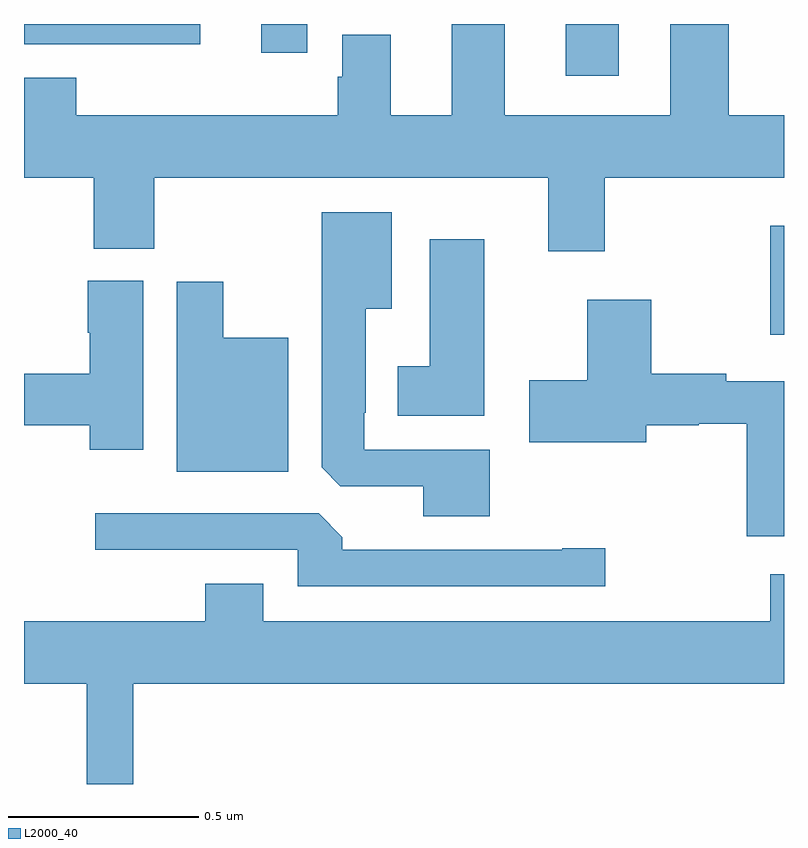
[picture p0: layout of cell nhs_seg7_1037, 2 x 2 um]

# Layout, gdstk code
import gdstk
lib = gdstk.Library(unit=1e-6, precision=1e-09)
def R(c, l, rs):  # rectangles x0, y0, x1, y1
    for r in rs: c.add(gdstk.rectangle(r[:2], r[2:], *l))
def P(c, l, *ps):  # polygons
    for p in ps: c.add(gdstk.Polygon(p, *l))
L2000_40 = (2000, 40)

nhs_seg7_1037 = lib.new_cell('nhs_seg7_1037')
R(nhs_seg7_1037, L2000_40, [(126.964,1020.182,127,1020.469), (126.425,1020.864,126.565,1021), (125.624,1020.924,125.746,1021), (125,1020.947,125.464,1021)])
P(nhs_seg7_1037, L2000_40, [(126.528,1020.596),(127,1020.596),(127,1020.76),(126.854,1020.76),(126.854,1021),(126.701,1021),(126.701,1020.76),(126.265,1020.76),(126.265,1021),(126.125,1021),(126.125,1020.76),(125.965,1020.76),(125.965,1020.972),(125.837,1020.972),(125.837,1020.861),(125.825,1020.861),(125.825,1020.76),(125.138,1020.76),(125.138,1020.859),(125,1020.859),(125,1020.596),(125.183,1020.596),(125.183,1020.409),(125.343,1020.409),(125.343,1020.596),(126.38,1020.596),(126.38,1020.402),(126.528,1020.402)],
  [(126.226,1019.88),(125.895,1019.88),(125.895,1019.977),(125.899,1019.977),(125.899,1020.251),(125.968,1020.251),(125.968,1020.505),(125.783,1020.505),(125.783,1019.833),(125.832,1019.784),(126.05,1019.784),(126.05,1019.705),(126.226,1019.705)],
  [(126.211,1020.433),(126.068,1020.433),(126.068,1020.1),(125.984,1020.1),(125.984,1019.969),(126.211,1019.969)],
  [(125.314,1020.324),(125.168,1020.324),(125.168,1020.188),(125.173,1020.188),(125.173,1020.08),(125,1020.08),(125,1019.944),(125.173,1019.944),(125.173,1019.88),(125.314,1019.88)],
  [(125.695,1020.175),(125.524,1020.175),(125.524,1020.322),(125.402,1020.322),(125.402,1019.822),(125.695,1019.822)],
  [(127,1020.06),(126.848,1020.06),(126.848,1020.08),(126.65,1020.08),(126.65,1020.274),(126.482,1020.274),(126.482,1020.063),(126.33,1020.063),(126.33,1019.9),(126.637,1019.9),(126.637,1019.944),(126.776,1019.944),(126.776,1019.948),(126.902,1019.948),(126.902,1019.652),(127,1019.652)],
  [(126.529,1019.621),(126.416,1019.621),(126.416,1019.616),(125.837,1019.616),(125.837,1019.65),(125.775,1019.712),(125.187,1019.712),(125.187,1019.616),(125.721,1019.616),(125.721,1019.52),(126.529,1019.52)],
  [(125.287,1019.264),(127,1019.264),(127,1019.552),(126.964,1019.552),(126.964,1019.428),(125.629,1019.428),(125.629,1019.527),(125.477,1019.527),(125.477,1019.428),(125,1019.428),(125,1019.264),(125.165,1019.264),(125.165,1019),(125.287,1019)])

lib.write_gds('nhs_seg7_1037.gds')
